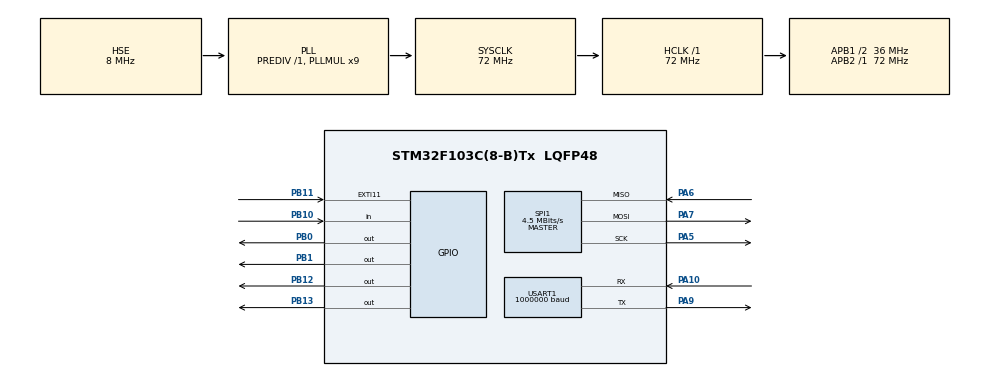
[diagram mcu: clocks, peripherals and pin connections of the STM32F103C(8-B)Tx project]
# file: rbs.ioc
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Mcu.Family=STM32F1
Mcu.Name=STM32F103C(8-B)Tx
Mcu.Package=LQFP48
NVIC.EXTI15_10_IRQn=true\:0\:0\:false\:false\:true\:true\:true\:true
NVIC.PriorityGroup=NVIC_PRIORITYGROUP_4
NVIC.USART1_IRQn=true\:0\:0\:false\:false\:true\:true\:true\:true
PA10.Mode=Asynchronous
PA10.Signal=USART1_RX
PA13.Mode=Serial_Wire
PA13.Signal=SYS_JTMS-SWDIO
PA14.Mode=Serial_Wire
PA14.Signal=SYS_JTCK-SWCLK
PA5.Mode=Full_Duplex_Master
PA5.Signal=SPI1_SCK
PA6.Mode=Full_Duplex_Master
PA6.Signal=SPI1_MISO
PA7.Mode=Full_Duplex_Master
PA7.Signal=SPI1_MOSI
PA9.Mode=Asynchronous
PA9.Signal=USART1_TX
PB0.PinState=GPIO_PIN_SET
PB0.Signal=GPIO_Output
PB1.PinState=GPIO_PIN_SET
PB1.Signal=GPIO_Output
PB10.Signal=GPIO_Input
PB11.Signal=GPXTI11
PB12.Signal=GPIO_Output
PB13.Signal=GPIO_Output
PD0-OSC_IN.Mode=HSE-External-Oscillator
PD0-OSC_IN.Signal=RCC_OSC_IN
PD1-OSC_OUT.Mode=HSE-External-Oscillator
PD1-OSC_OUT.Signal=RCC_OSC_OUT
ProjectManager.HeapSize=0x200
ProjectManager.StackSize=0x400
ProjectManager.TargetToolchain=MDK-ARM V5.32
RCC.AHBFreq_Value=72000000
RCC.APB1CLKDivider=RCC_HCLK_DIV2
RCC.APB1Freq_Value=36000000
RCC.APB1TimFreq_Value=72000000
RCC.APB2Freq_Value=72000000
RCC.APB2TimFreq_Value=72000000
RCC.HCLKFreq_Value=72000000
RCC.PLLMUL=RCC_PLL_MUL9
RCC.PLLSourceVirtual=RCC_PLLSOURCE_HSE
RCC.SYSCLKFreq_VALUE=72000000
RCC.SYSCLKSource=RCC_SYSCLKSOURCE_PLLCLK
RCC.USBFreq_Value=72000000
SPI1.BaudRatePrescaler=SPI_BAUDRATEPRESCALER_16
SPI1.CalculateBaudRate=4.5 MBits/s
SPI1.Direction=SPI_DIRECTION_2LINES
SPI1.Mode=SPI_MODE_MASTER
SPI1.VirtualType=VM_MASTER
USART1.BaudRate=1000000
USART1.VirtualMode=VM_ASYNC
board=custom

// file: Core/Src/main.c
/* USER CODE BEGIN Header */
/**
  ******************************************************************************
  * @file           : main.c
  * @brief          : Main program body - Raspberry Pi <-> STM32 <-> E22 bridge
  ******************************************************************************
  * @attention
  *
  * Copyright (c) 2026 STMicroelectronics.
  * All rights reserved.
  *
  * This software is licensed under terms that can be found in the LICENSE file
  * in the root directory of this software component.
  * If no LICENSE file comes with this software, it is provided AS-IS.
  *
  ******************************************************************************
  */
/* USER CODE END Header */
#include "main.h"

/* USER CODE BEGIN Includes */
#include "e22_radio.h"
#include "pi_bridge.h"
/* USER CODE END Includes */

/* USER CODE BEGIN PD */

/*
 * SELF-HEALING V1 - STM32 IWDG
 *
 * IWDG nominal timeout:
 *   LSI ~= 40 kHz, prescaler = 64, reload = 2499
 *   T ~= (2499 + 1) * 64 / 40000 ~= 4.0 s
 *
 * LSI on STM32F1 is not precision-calibrated, so the real timeout can vary.
 *
 * Set to 1 for ONE-SHOT watchdog verification:
 * - First boot: after 10 s, firmware intentionally stops refreshing IWDG.
 * - IWDG resets the STM32.
 * - After the IWDG reset, firmware detects RCC_FLAG_IWDGRST and DOES NOT
 *   intentionally stop feeding again, so the bridge returns to normal.
 *
 * After successful test, set this back to 0 and flash the production build.
 */
#define IWDG_SELF_TEST                    0U
#define IWDG_SELF_TEST_DELAY_MS       10000U

#define IWDG_KR_ENABLE_ACCESS        0x5555U
#define IWDG_KR_RELOAD               0xAAAAU
#define IWDG_KR_START                0xCCCCU

/* PR=4 means divider /64 on STM32F1 IWDG. */
#define IWDG_PR_DIV64                     4U
#define IWDG_RELOAD_4S_NOMINAL         2499U

/*
 * RBS_UART_RX_GUARD_V2
 *
 * PiBridge dung HAL_UART_Receive_IT().
 * Neu RX interrupt bi dung do ORE/FE/NE hay HAL state bi roi khoi BUSY_RX,
 * main loop van co the tiep tuc chay. Neu van refresh IWDG thi STM32 se
 * "song" nhung khong con nghe lenh Pi -> dung hien tuong timeout 0x01.
 *
 * Guard nay KHONG thay protocol. No chi ngung feed IWDG neu UART RX
 * khong con armed lien tuc qua grace period; IWDG se reset STM32.
 */
#define RBS_UART_RX_GUARD_V2               1U
#define RBS_UART_RX_BAD_GRACE_MS          250U

/* USER CODE END PD */

SPI_HandleTypeDef hspi1;

UART_HandleTypeDef huart1;

/* USER CODE BEGIN PV */
static E22_RadioEvent_t g_radio_event;

/* Watchdog/reset diagnostics kept in RAM for debugger inspection. */
static uint8_t g_boot_was_iwdg_reset = 0U;
static uint32_t g_iwdg_start_tick_ms = 0U;

/* UART RX health diagnostics. */
static uint32_t g_uart_rx_bad_since_ms = 0U;
static uint32_t g_uart_rx_bad_count = 0U;
/* USER CODE END PV */

void SystemClock_Config(void);
static void MX_GPIO_Init(void);
static void MX_SPI1_Init(void);
static void MX_USART1_UART_Init(void);

/* USER CODE BEGIN 0 */

/*
 * Start STM32F103 independent watchdog without depending on CubeMX IWDG/HAL
 * configuration. This keeps the patch local to USER CODE sections.
 *
 * IMPORTANT:
 * - IWDG cannot be stopped after it is started; only a reset stops/restarts it.
 * - Refresh only from the healthy main loop. Error_Handler deliberately does
 *   NOT refresh it, so a fatal firmware lock will self-recover by reset.
 */
static void RBS_IWDG_Start(void)
{
  uint32_t wait_start;

  /* Start IWDG (LSI is started by hardware). */
  IWDG->KR = IWDG_KR_START;

  /* Allow PR/RLR update. */
  IWDG->KR = IWDG_KR_ENABLE_ACCESS;
  IWDG->PR = IWDG_PR_DIV64;
  IWDG->RLR = IWDG_RELOAD_4S_NOMINAL;

  /*
   * PR/RLR updates need a few LSI cycles. Bound the wait so this helper
   * itself can never become an infinite software lock.
   */
  wait_start = HAL_GetTick();
  while (IWDG->SR != 0U)
  {
    if ((HAL_GetTick() - wait_start) > 50U)
    {
      break;
    }
  }

  /* Load the new counter immediately. */
  IWDG->KR = IWDG_KR_RELOAD;
  g_iwdg_start_tick_ms = HAL_GetTick();
}

static inline void RBS_IWDG_Refresh(void)
{
  IWDG->KR = IWDG_KR_RELOAD;
}

/*
 * HAL_UART_Receive_IT() keeps huart1.RxState at BUSY_RX while one-byte
 * interrupt reception is armed. The Rx-complete ISR should immediately
 * arm the next byte. Therefore the main loop should almost always observe
 * BUSY_RX when the bridge is healthy.
 *
 * If RX becomes READY/error and stays there, do NOT keep the IWDG alive.
 * This converts a silent UART-receiver failure into an automatic MCU reset.
 */
static uint8_t RBS_UART_RxHealthy(void)
{
#if RBS_UART_RX_GUARD_V2
  uint32_t now = HAL_GetTick();

  /*
   * V3: khong chi nhin RxState.
   * PiBridge_UartRxHealthy() con kiem tra ErrorCode
   * va ket qua re-arm RX gan nhat.
   */
  if (PiBridge_UartRxHealthy())
  {
    g_uart_rx_bad_since_ms = 0U;
    return 1U;
  }

  if (g_uart_rx_bad_since_ms == 0U)
  {
    g_uart_rx_bad_since_ms = now;
    g_uart_rx_bad_count++;
    return 1U;
  }

  if ((now - g_uart_rx_bad_since_ms) < RBS_UART_RX_BAD_GRACE_MS)
  {
    return 1U;
  }

  return 0U;
#else
  return 1U;
#endif
}

/* USER CODE END 0 */

int main(void)
{

  /* MCU Configuration--------------------------------------------------------*/

  /* Reset of all peripherals, Initializes the Flash interface and the Systick. */
  HAL_Init();

  /* USER CODE BEGIN Init */

  /*
   * Read reset cause before clearing RCC reset flags.
   * Useful for watchdog self-test and later fault diagnostics.
   */
  g_boot_was_iwdg_reset =
      (__HAL_RCC_GET_FLAG(RCC_FLAG_IWDGRST) != RESET) ? 1U : 0U;
  __HAL_RCC_CLEAR_RESET_FLAGS();

  /* USER CODE END Init */

  /* Configure the system clock */
  SystemClock_Config();

  /* Initialize all configured peripherals */
  MX_GPIO_Init();
  MX_SPI1_Init();
  MX_USART1_UART_Init();
  /* USER CODE BEGIN 2 */

  /*
   * IMPORTANT:
   * CubeMX must have USART1 global interrupt enabled because PiBridge uses
   * HAL_UART_Receive_IT() for the UART stream from Raspberry Pi.
   */
  if (PiBridge_Init(&huart1) != HAL_OK)
  {
    Error_Handler();
  }

  if (E22_Radio_Init(&hspi1) != HAL_OK)
  {
    Error_Handler();
  }

  /*
   * Start watchdog only after UART bridge + E22 basic initialization PASS.
   * From this point, a dead main loop / fatal Error_Handler will recover
   * automatically by MCU reset.
   */
  RBS_IWDG_Start();

  /* USER CODE END 2 */

  /* Infinite loop */
  while (1)
  {

    /* USER CODE BEGIN 3 */

    /*
     * V3: foreground service se retry re-arm USART1 neu RX bi roi.
     * Khi UART dang khoe, ham nay khong can thiep vao RX dang BUSY.
     */
    PiBridge_UartService();

    /* Parse commands from Raspberry Pi. */
    PiBridge_Process();

    /* Process asynchronous DIO1 events from E22/SX1268. */
    while (E22_Radio_PollEvent(&g_radio_event))
    {
      PiBridge_HandleRadioEvent(&g_radio_event);
    }

    /*
     * Feed IWDG only after the main service cycle completes.
     * If PiBridge_Process(), radio handling, or firmware locks permanently,
     * this line is no longer reached and IWDG resets the STM32.
     */
#if IWDG_SELF_TEST
    if (RBS_UART_RxHealthy() &&
        (g_boot_was_iwdg_reset ||
         ((HAL_GetTick() - g_iwdg_start_tick_ms) < IWDG_SELF_TEST_DELAY_MS)))
    {
      RBS_IWDG_Refresh();
    }
#else
    /*
     * V2: feed watchdog ONLY while PiBridge UART RX is actually armed.
     * If UART RX silently dies, watchdog expires and reboots STM32.
     */
    if (RBS_UART_RxHealthy())
    {
      RBS_IWDG_Refresh();
    }
#endif

  }
  /* USER CODE END 3 */
}

void SystemClock_Config(void)
{
  RCC_OscInitTypeDef RCC_OscInitStruct = {0};
  RCC_ClkInitTypeDef RCC_ClkInitStruct = {0};

  /** Initializes the RCC Oscillators according to the specified parameters
  * in the RCC_OscInitTypeDef structure.
  */
  RCC_OscInitStruct.OscillatorType = RCC_OSCILLATORTYPE_HSE;
  RCC_OscInitStruct.HSEState = RCC_HSE_ON;
  RCC_OscInitStruct.HSEPredivValue = RCC_HSE_PREDIV_DIV1;
  RCC_OscInitStruct.HSIState = RCC_HSI_ON;
  RCC_OscInitStruct.PLL.PLLState = RCC_PLL_ON;
  RCC_OscInitStruct.PLL.PLLSource = RCC_PLLSOURCE_HSE;
  RCC_OscInitStruct.PLL.PLLMUL = RCC_PLL_MUL9;
  if (HAL_RCC_OscConfig(&RCC_OscInitStruct) != HAL_OK)
  {
    Error_Handler();
  }

  /** Initializes the CPU, AHB and APB buses clocks
  */
  RCC_ClkInitStruct.ClockType = RCC_CLOCKTYPE_HCLK|RCC_CLOCKTYPE_SYSCLK
                              |RCC_CLOCKTYPE_PCLK1|RCC_CLOCKTYPE_PCLK2;
  RCC_ClkInitStruct.SYSCLKSource = RCC_SYSCLKSOURCE_PLLCLK;
  RCC_ClkInitStruct.AHBCLKDivider = RCC_SYSCLK_DIV1;
  RCC_ClkInitStruct.APB1CLKDivider = RCC_HCLK_DIV2;
  RCC_ClkInitStruct.APB2CLKDivider = RCC_HCLK_DIV1;

  if (HAL_RCC_ClockConfig(&RCC_ClkInitStruct, FLASH_LATENCY_2) != HAL_OK)
  {
    Error_Handler();
  }
}

static void MX_SPI1_Init(void)
{

  /* SPI1 parameter configuration*/
  hspi1.Instance = SPI1;
  hspi1.Init.Mode = SPI_MODE_MASTER;
  hspi1.Init.Direction = SPI_DIRECTION_2LINES;
  hspi1.Init.DataSize = SPI_DATASIZE_8BIT;
  hspi1.Init.CLKPolarity = SPI_POLARITY_LOW;
  hspi1.Init.CLKPhase = SPI_PHASE_1EDGE;
  hspi1.Init.NSS = SPI_NSS_SOFT;
  hspi1.Init.BaudRatePrescaler = SPI_BAUDRATEPRESCALER_16;
  hspi1.Init.FirstBit = SPI_FIRSTBIT_MSB;
  hspi1.Init.TIMode = SPI_TIMODE_DISABLE;
  hspi1.Init.CRCCalculation = SPI_CRCCALCULATION_DISABLE;
  hspi1.Init.CRCPolynomial = 10;
  if (HAL_SPI_Init(&hspi1) != HAL_OK)
  {
    Error_Handler();
  }

}

static void MX_USART1_UART_Init(void)
{

  huart1.Instance = USART1;
  huart1.Init.BaudRate = 1000000;
  huart1.Init.WordLength = UART_WORDLENGTH_8B;
  huart1.Init.StopBits = UART_STOPBITS_1;
  huart1.Init.Parity = UART_PARITY_NONE;
  huart1.Init.Mode = UART_MODE_TX_RX;
  huart1.Init.HwFlowCtl = UART_HWCONTROL_NONE;
  huart1.Init.OverSampling = UART_OVERSAMPLING_16;
  if (HAL_UART_Init(&huart1) != HAL_OK)
  {
    Error_Handler();
  }

}

static void MX_GPIO_Init(void)
{
  GPIO_InitTypeDef GPIO_InitStruct = {0};

  /* GPIO Ports Clock Enable */
  __HAL_RCC_GPIOD_CLK_ENABLE();
  __HAL_RCC_GPIOA_CLK_ENABLE();
  __HAL_RCC_GPIOB_CLK_ENABLE();

  /*Configure GPIO pin Output Level */
  HAL_GPIO_WritePin(GPIOB, GPIO_PIN_0|GPIO_PIN_1, GPIO_PIN_SET);

  /*Configure GPIO pin Output Level */
  HAL_GPIO_WritePin(GPIOB, GPIO_PIN_12|GPIO_PIN_13, GPIO_PIN_RESET);

  /*Configure GPIO pins : PB0 PB1 PB12 PB13 */
  GPIO_InitStruct.Pin = GPIO_PIN_0|GPIO_PIN_1|GPIO_PIN_12|GPIO_PIN_13;
  GPIO_InitStruct.Mode = GPIO_MODE_OUTPUT_PP;
  GPIO_InitStruct.Pull = GPIO_NOPULL;
  GPIO_InitStruct.Speed = GPIO_SPEED_FREQ_LOW;
  HAL_GPIO_Init(GPIOB, &GPIO_InitStruct);

  /*Configure GPIO pin : PB10 */
  GPIO_InitStruct.Pin = GPIO_PIN_10;
  GPIO_InitStruct.Mode = GPIO_MODE_INPUT;
  GPIO_InitStruct.Pull = GPIO_NOPULL;
  HAL_GPIO_Init(GPIOB, &GPIO_InitStruct);

  /*Configure GPIO pin : PB11 */
  GPIO_InitStruct.Pin = GPIO_PIN_11;
  GPIO_InitStruct.Mode = GPIO_MODE_IT_RISING;
  GPIO_InitStruct.Pull = GPIO_NOPULL;
  HAL_GPIO_Init(GPIOB, &GPIO_InitStruct);

  /* EXTI interrupt init*/
  HAL_NVIC_SetPriority(EXTI15_10_IRQn, 0, 0);
  HAL_NVIC_EnableIRQ(EXTI15_10_IRQn);

}

/* USER CODE BEGIN 4 */

/**
  * @brief DIO1 interrupt callback from E22 (PB11 / EXTI11).
  */
void HAL_GPIO_EXTI_Callback(uint16_t GPIO_Pin)
{
  if (GPIO_Pin == GPIO_PIN_11)
  {
    E22_Radio_NotifyDio1Irq();
  }
}

/**
  * @brief One-byte UART receive interrupt callback for Pi bridge.
  */
void HAL_UART_RxCpltCallback(UART_HandleTypeDef *huart)
{
  PiBridge_UartRxCpltCallback(huart);
}

/**
  * @brief UART recovery after overrun/noise/frame error.
  */
void HAL_UART_ErrorCallback(UART_HandleTypeDef *huart)
{
  PiBridge_UartErrorCallback(huart);
}

/* USER CODE END 4 */

void Error_Handler(void)
{
  __disable_irq();
  while (1)
  {
  }
}
